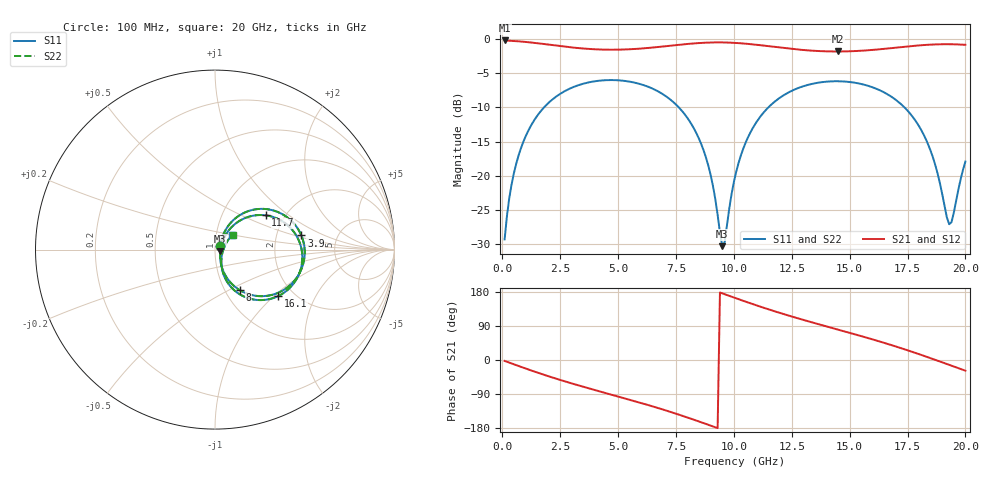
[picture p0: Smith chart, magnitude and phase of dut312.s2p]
! Touchstone file exported from HFSS 2026.1.0
!  File:  C:/ffzhzh/LocalFiles/Ansys_Project_Files/temp_train_TSV_RDL_312_1783029755_55676.aedt
!  Generated:  06:21:54 AM Jul  3, 2026
!  Design:  TSV_RDL
!  Project:  temp_train_TSV_RDL_312_1783029755_55676
! Variables:
!  h_bsmrdl = 3.71um
!  h_ox = 20um
!  h_rdl = 5um
!  h_sub = 59.16um
!  h_tmrdl = 4.79um
!  h_tsv = 59.16um
!  h_via = 3um
!  l_bsmrdl = 981.42um
!  l_sub = 6876.07um
!  l_tmrdl = 848.43um
!  m_sub = 200um
!  pitch = 44.94um
!  r_tsv = 5.17um
!  s_tmrdl = 10um
!  w_bsmrdl = 18.84um
!  w_sub = 500um
!  w_tmrdl = 27.19um
!  x_tsv_center1 = 862.025um
!  x_tsv_center2 = 1862.285um
!  x_tsv_center3 = 2737.905um
!  x_tsv_center4 = 3738.165um
!  x_tsv_center5 = 4613.785um
!  x_tsv_center6 = 5614.045um
# GHz S MA R 50.000000
! Terminal data exported
! Port[1] = TM_RDL1_1_T1
! Port[2] = TM_RDL5_1_T1
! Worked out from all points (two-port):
!   200 points, 100 MHz to 20 GHz, reference 50 ohm
!   highest |S21| = -0.24 dB at 100 MHz (marker M1); lowest = -1.8 dB at 14.5 GHz (marker M2)
!   |S21| within 3 dB of the highest: start of sweep to end of sweep
!   lowest |S11| = -30.2 dB at 9.5 GHz (marker M3), VSWR 1.06, Z = 53 - j0.972 ohm
!   |S11| at or under -10 dB: start of sweep to 1.804 GHz; 7.622 GHz to 11.49 GHz (3.869 GHz wide, 40.5 % of centre); 17.37 GHz to end of sweep
!   |S22| runs from -30.3 to -6.0 dB; largest |S21 - S12| = 1.6e-14
!   S11 on the Smith chart (normalised r, x): 100 MHz: 1.06, +0.04; 3.9 GHz: 2.77, +0.57; 8 GHz: 1.17, -0.57; 11.7 GHz: 1.60, +0.69; 16.1 GHz: 1.65, -1.06; 20 GHz: 1.20, +0.20
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0.1  0.03442 37.1  0.9732 -2.4  0.9732 -2.4  0.03442 37.1
! Gamma 0 0 0 0
! Port Impedance 50 0 50 0
0.5  0.1045 61.5  0.9643 -11.4  0.9643 -11.4  0.1045 61.5
1.1  0.2098 56.8  0.9461 -24.5  0.9461 -24.5  0.2098 56.8
2.1  0.3537 39.9  0.9029 -45.0  0.9029 -45.0  0.3537 39.9
3.5  0.4708 15.9  0.8499 -70.7  0.8499 -70.7  0.4708 15.9
3.9  0.4874 9.3  0.8408 -77.6  0.8408 -77.6  0.4874 9.3
5.3  0.4929 -13.2  0.8365 -101.4  0.8365 -101.4  0.4929 -13.2
6.8  0.4074 -38.1  0.8743 -128.1  0.8743 -128.1  0.4073 -38.1
8  0.2639 -58.7  0.9176 -151.8  0.9176 -151.8  0.2639 -58.7
8.9  0.1184 -69.0  0.9391 -171.0  0.9391 -171.0  0.1183 -69.1
9.5  0.03073 -17.3  0.9416 175.8  0.9416 175.8  0.03055 -17.4
9.6  0.03268 13.9  0.9409 173.6  0.9409 173.6  0.03251 14.0
10.1  0.1069 54.4  0.9332 162.7  0.9332 162.7  0.1068 54.5
10.7  0.2052 50.0  0.9155 149.9  0.9155 149.9  0.2052 50.1
11.7  0.3411 34.0  0.8756 129.7  0.8756 129.7  0.341 34.1
13.4  0.4702 6.1  0.8193 98.9  0.8193 98.9  0.4702 6.1
14.5  0.4904 -11.2  0.8084 80.2  0.8084 80.2  0.4904 -11.2
16.1  0.4362 -36.6  0.8332 52.4  0.8332 52.4  0.4361 -36.5
16.7  0.3884 -46.3  0.852 41.4  0.852 41.4  0.3883 -46.3
18.3  0.1841 -69.9  0.9033 9.0  0.9033 9.0  0.1841 -69.8
19.3  0.04443 -21.3  0.9137 -12.8  0.9137 -12.8  0.04463 -21.1
20  0.1273 40.1  0.9042 -28.2  0.9042 -28.2  0.1275 40.1
